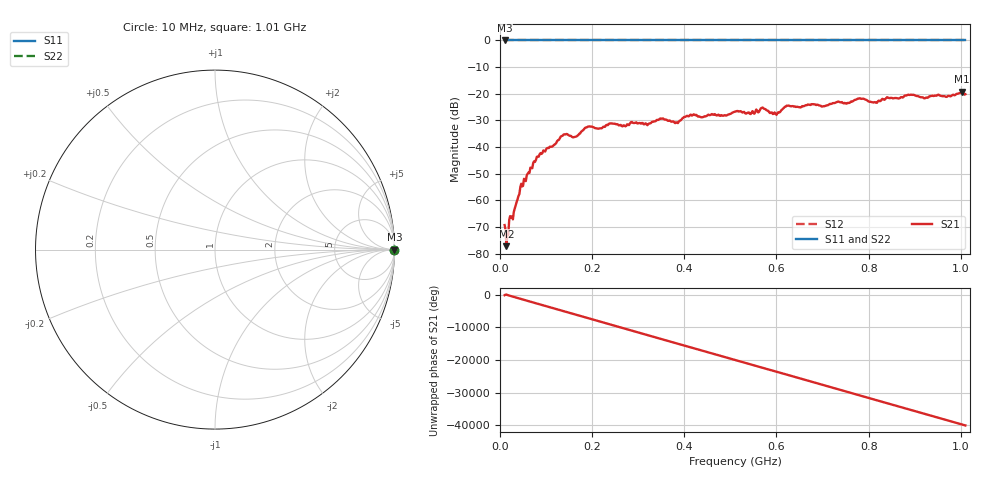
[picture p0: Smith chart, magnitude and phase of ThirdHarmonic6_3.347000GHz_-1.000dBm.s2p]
! 8/17/2025 10:33:23 AM
! C:\ANRITSUVNA\TEMP\TEMP.S2P
! CHANNEL.1
! TR.MEASUREMENT
! RAW.DATA
! RF.CORRECTION.OFF
! AVERAGING.OFF
! IF.BANDWIDTH: 5KHZ
! SWEEPTYPE:  FREQ.SWEEP(Linear)
! Reference Plane Port Info
! PORT:  PORT1  PORT2
! DISTANCE:  0  m  0  m
! TIME:  0  s  0  s
! PHASE.OFFSET:  0  deg.  0  deg.
! LOSS:  0  dB  0  dB
! REF.LOSS:  0  dB  0  dB
! REF.FREQ:  0  Hz  0  Hz
! Power Info
! POWER:  -20  dBm  -20  dBm
! EFF.POWER:  -20  dBm  -20  dBm
! SOURCE.ATTEN:  0  dB  0  dB
! TEST.ATTEN:  0  dB  0  dB
# GHZ S RI R 50.0
! FREQ.GHZ  S11RE  S11IM  S21RE  S21IM  S12RE  S12IM  S22RE  S22IM
!; PortSelection: Port_12
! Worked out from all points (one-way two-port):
!   501 points, 10 MHz to 1.01 GHz, reference 50 ohm
!   highest |S21| = -19.24 dB at 1.002 GHz (marker M1); lowest = -77.1 dB at 14 MHz (marker M2)
!   lowest |S11| = 0.0 dB at 10 MHz (marker M3)
!   |S11| at or under -10 dB: nowhere
!   |S22| runs from 0.0 to 0.0 dB; largest |S21 - S12| = 1.1
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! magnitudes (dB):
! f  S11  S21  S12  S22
! 10 MHz  0.0  -69.2  0.0  0.0
! 14 MHz  0.0  -77.1  0.0  0.0
! 48 MHz  0.0  -54.7  0.0  0.0
! 84 MHz  0.0  -43.6  0.0  0.0
! 136 MHz  0.0  -35.7  0.0  0.0
! 162 MHz  0.0  -36.2  0.0  0.0
! 178 MHz  0.0  -33.9  0.0  0.0
! 194 MHz  0.0  -32.2  0.0  0.0
! 322 MHz  0.0  -31.3  0.0  0.0
! 344 MHz  0.0  -29.8  0.0  0.0
! 382 MHz  0.0  -30.7  0.0  0.0
! 416 MHz  0.0  -28.2  0.0  0.0
! 510 MHz  0.0  -26.7  0.0  0.0
! 570 MHz  0.0  -25.2  0.0  0.0
! 596 MHz  0.0  -27.0  0.0  0.0
! 622 MHz  0.0  -24.5  0.0  0.0
! 678 MHz  0.0  -23.9  0.0  0.0
! 780 MHz  0.0  -21.7  0.0  0.0
! 814 MHz  0.0  -23.1  0.0  0.0
! 844 MHz  0.0  -21.6  0.0  0.0
! 1.002 GHz  0.0  -19.2  0.0  0.0
! 1.01 GHz  0.0  -20.2  0.0  0.0
